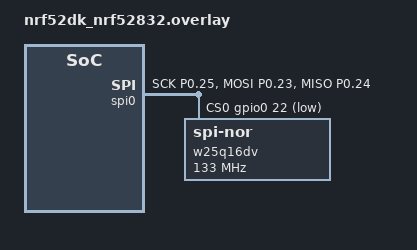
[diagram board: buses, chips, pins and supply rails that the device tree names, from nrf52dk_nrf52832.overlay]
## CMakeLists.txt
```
# SPDX-License-Identifier: Apache-2.0

cmake_minimum_required(VERSION 3.20.0)
find_package(Zephyr REQUIRED HINTS $ENV{ZEPHYR_BASE})
project(spi_flash)

FILE(GLOB app_sources src/*.c)
target_sources(app PRIVATE ${app_sources})
```

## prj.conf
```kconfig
CONFIG_STDOUT_CONSOLE=y
CONFIG_FLASH=y
CONFIG_SPI=y
CONFIG_LOG=y

CONFIG_NORDIC_QSPI_NOR=y
CONFIG_NORDIC_QSPI_NOR_FLASH_LAYOUT_PAGE_SIZE=4096
# CONFIG_NORDIC_QSPI_NOR_STACK_WRITE_BUFFER_SIZE=16
# CONFIG_NRFX_QSPI=y
CONFIG_SPI_NOR=y
```

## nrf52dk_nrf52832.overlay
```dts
/ {
    aliases{
        spi-flash0 = &w25q16dv; //Winbond flash
        // spi-flash0 = &mx25r6435;    //Mmacronix flash
    };
};


// This is for development kit disable it if working with node.

&spi0 {
    compatible = "nordic,nrf-spi";
    status = "okay";
    cs-gpios = <&gpio0 22 GPIO_ACTIVE_LOW>;
    pinctrl-0 = <&spi0_default>;
    pinctrl-1 = <&spi0_sleep>;
    pinctrl-names = "default", "sleep";
    // mx25r6435: mx25r6435f@0 {/*Macronix flash*/
        //     compatible = "jedec,spi-nor";
        //     reg = <0>;
        //     spi-max-frequency = <133000000>;
        //     jedec-id = [ c2 28 17  ]; /*This is default for Macronix flash [change aliases]*/
        //     size = <67108864>;//8Mb flash
    // };


    w25q16dv: w25q16dv@0 {/*Winbond flash*/
        compatible = "jedec,spi-nor";
        reg = <0>;
        spi-max-frequency = <133000000>;
        jedec-id = [ ef 40 15  ]; /* This is default for  Winbond flash [change aliases]*/
        size = <16777216>;//2Mb flash
    };
};

&pinctrl {
    spi0_default: spi0_default {
        group1 {
            psels = <NRF_PSEL(SPIM_SCK, 0, 25)>,
                    <NRF_PSEL(SPIM_MOSI, 0, 23)>,
                    <NRF_PSEL(SPIM_MISO, 0, 24)>;
        };
    };

    spi0_sleep: spi0_sleep {
        group1 {
            psels = <NRF_PSEL(SPIM_SCK, 0, 25)>,
                    <NRF_PSEL(SPIM_MOSI, 0, 23)>,
                    <NRF_PSEL(SPIM_MISO, 0, 24)>;
            low-power-enable;
        };
    };

};






/* Enable for Node Configuration Only */

//&spi0 {
 //   compatible = "nordic,nrf-spi";
//    status = "okay";
    // cs-gpios = <&gpio0 5 GPIO_ACTIVE_LOW>;   
  //  pinctrl-0 = <&spi0_default>;
 //   pinctrl-1 = <&spi0_sleep>;
  //  pinctrl-names = "default", "sleep";

/* This is vriable according to flash manufacturer */
    // mx25r6435: mx25r6435f@0 {/*Macronix flash*/
        //     compatible = "jedec,spi-nor";
        //     reg = <0>;
        //     spi-max-frequency = <133000000>;
        //     jedec-id = [ c2 28 17  ];  /*This is default for Macronix flash [change aliases]*/
        //     size = <67108864>;//8Mb flash
    // };


//    w25q16dv: w25q16dv@0 {/*Winbond flash*/
//        compatible = "jedec,spi-nor";
 //       reg = <0>;
  //      spi-max-frequency = <133000000>;
  //      jedec-id = [ ef 40 15  ]; /* This is default for  Winbond flash [change aliases]*/
  //      size = <16777216>;//2Mb flash9
  //  };
//};

// &pinctrl {
//     uart0_default: uart0_default {
//         group1 {
//             psels = <NRF_PSEL(UART_TX, 0, 24)>, 
//             <NRF_PSEL(UART_RX, 0, 23)>;  

//         };
//     };

//     uart0_sleep: uart0_sleep {
//         group1 {
//             psels = <NRF_PSEL(UART_TX, 0, 24)>,    //6
//             <NRF_PSEL(UART_RX, 0, 23)>;       //8

//             low-power-enable;
//         };
//     };

//     spi0_default: spi0_default {
//         group1 {
//             psels = <NRF_PSEL(SPIM_SCK, 0, 8)>,
//                     <NRF_PSEL(SPIM_MOSI, 0, 7)>,
//                     <NRF_PSEL(SPIM_MISO, 0, 6)>;
//         };
//     };

//     spi0_sleep: spi0_sleep {
//         group1 {
//             psels = <NRF_PSEL(SPIM_SCK, 0, 8)>,
//                     <NRF_PSEL(SPIM_MOSI, 0, 7)>,
//                     <NRF_PSEL(SPIM_MISO, 0, 6)>;
//             low-power-enable;
//         };
//     };
// };
```

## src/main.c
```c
#include <stdio.h>
#include <string.h>
#include <zephyr/devicetree.h>
#include <zephyr/drivers/flash.h>
#include <zephyr/zephyr.h>

// Define flash memory configuration
#define spiFlashTestRegionOffset 0xff000 // Flash memory offset
#define spiFlashSectorSize 4096          // Flash sector size
#define flashName "W25R64JV"             // Flash device name
#define delayTime 1000                   // Delay time in ms

// Macro for error checking
#define CHECK_ERROR(rc, msg)                \
    if (rc != 0)                            \
    {                                       \
        printf("%s failed! %d\n", msg, rc); \
        return;                             \
    }

void main(void)
{
    const uint8_t expected[] = {0x55}; // Expected data
    // const uint8_t expected[] = {0x55, 0xaa, 0x66, 0x99}; // Expected data
    const size_t len = sizeof(expected);                 // Length of data
    uint8_t buf[len];                                    // Buffer for reading data

    const struct device *flashDev = DEVICE_DT_GET(DT_ALIAS(spi_flash0)); // Get flash device
    if (!device_is_ready(flashDev))                                      // Check if device is ready
    {
        printf("%s: device not ready.\n", flashDev->name); // Print error if not ready
        return;
    }

    printf("\n%s SPI flash testing\n", flashDev->name); // Print flash test message
    printf("==========================\n");

    printf("\nTest 1: Flash erase\n");
    int rc = flash_erase(flashDev, spiFlashTestRegionOffset, spiFlashSectorSize); // Erase flash sector
    CHECK_ERROR(rc, "Flash erase");                                               // Check erase error

    printf("\nTest 2: Flash write\n");
    printf("Attempting to write %zu bytes\n", len);                      // Print write attempt message
    rc = flash_write(flashDev, spiFlashTestRegionOffset, expected, len); // Write to flash
    CHECK_ERROR(rc, "Flash write");                                      // Check write error

    memset(buf, 0, len);                                           // Clear buffer
    rc = flash_read(flashDev, spiFlashTestRegionOffset, buf, len); // Read from flash
    CHECK_ERROR(rc, "Flash read");                                 // Check read error

    if (memcmp(expected, buf, len) == 0) // Compare data
    {
        printf("Data read matches data written. Good job!\n"); // Print success
        for (size_t i = 0; i < len; i++)                       // Print data
        {
            printf("%02x ", buf[i]); // Print byte
        }
        printf("\n");
    }
    else
    {
        printf("Data read does not match data written!\n"); // Print mismatch
        for (size_t i = 0; i < len; i++)                    // Print mismatched data
        {
            printf("%08x wrote %02x read %02x %s\n", // Print mismatch details
                   (uint32_t)(spiFlashTestRegionOffset + i), expected[i], buf[i],
                   (expected[i] == buf[i]) ? "match" : "MISMATCH");
        }
    }

    k_msleep(delayTime); // Delay before next operation
}
```
